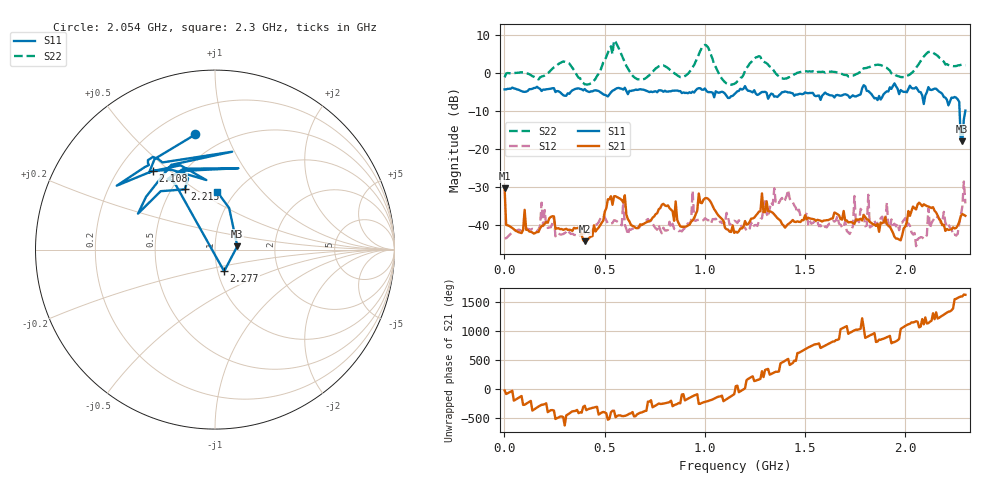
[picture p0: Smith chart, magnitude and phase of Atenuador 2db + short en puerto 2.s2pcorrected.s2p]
# Hz S DB R 50.000000
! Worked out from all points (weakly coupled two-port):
!   300 points, 1 MHz to 2.3 GHz, reference 50 ohm
!   highest |S21| = -30.40 dB at 1 MHz (marker M1); lowest = -44.4 dB at 400.8 MHz (marker M2)
!   lowest |S11| = -18.0 dB at 2.285 GHz (marker M3), VSWR 1.29, Z = 64.1 + j2.49 ohm
!   |S11| at or under -10 dB: 2.271 GHz to 2.3 GHz (28.53 MHz wide, 1.25 % of centre)
!   |S22| runs from -3.1 to 8.6 dB; largest |S21 - S12| = 0.05
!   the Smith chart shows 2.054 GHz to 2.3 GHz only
!   S11 on the Smith chart (normalised r, x): 2.054 GHz: 0.35, +0.78; 2.108 GHz: 0.34, +0.44; 2.215 GHz: 0.58, +0.45; 2.277 GHz: 1.07, -0.26; 2.3 GHz: 0.83, +0.60
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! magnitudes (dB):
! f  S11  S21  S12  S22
! 1 MHz  -4.3  -30.4  -43.6  -1.1
! 8.689 MHz  -4.3  -40.0  -43.6  -0.1
! 54.82 MHz  -4.1  -41.5  -41.6  0.0
! 385.4 MHz  -4.3  -42.7  -42.3  -2.3
! 400.8 MHz  -4.2  -44.4  -42.1  -3.0
! 546.9 MHz  -4.5  -32.5  -38.8  8.6
! 769.9 MHz  -4.6  -35.9  -40.0  1.8
! 939.1 MHz  -4.9  -38.8  -31.1  1.5
! 1.154 GHz  -5.3  -41.8  -39.1  -2.6
! 1.285 GHz  -5.0  -31.7  -38.3  3.3
! 1.347 GHz  -6.2  -37.3  -30.4  0.4
! 1.539 GHz  -5.2  -38.5  -39.6  0.5
! 1.816 GHz  -4.7  -38.7  -32.1  1.5
! 1.823 GHz  -5.1  -39.3  -40.7  1.6
! 1.923 GHz  -3.8  -40.5  -41.1  0.7
! 2.054 GHz  -3.7  -36.0  -45.7  1.4
! 2.108 GHz  -5.0  -35.1  -42.8  5.3
! 2.215 GHz  -8.5  -41.4  -39.9  2.1
! 2.269 GHz  -7.6  -39.3  -39.7  2.1
! 2.277 GHz  -17.6  -37.7  -37.5  2.1
! 2.285 GHz  -18.0  -37.2  -35.3  2.2
! 2.3 GHz  -9.9  -37.6  -34.4  2.1
